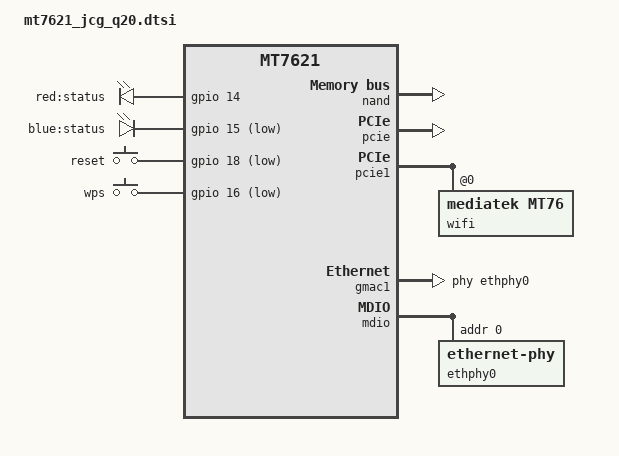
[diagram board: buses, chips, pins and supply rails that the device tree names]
// SPDX-License-Identifier: GPL-2.0-or-later OR MIT

#include "mt7621.dtsi"

#include <dt-bindings/gpio/gpio.h>
#include <dt-bindings/input/input.h>

/ {
	aliases {
		led-boot = &led_status_red;
		led-failsafe = &led_status_red;
		led-running = &led_status_blue;
		led-upgrade = &led_status_blue;
		label-mac-device = &gmac0;
	};

	chosen {
		bootargs = "console=ttyS0,115200";
	};

	leds {
		compatible = "gpio-leds";

		led_status_red: status_red {
			label = "red:status";
			gpios = <&gpio 14 GPIO_ACTIVE_HIGH>;
		};

		led_status_blue: status_blue {
			label = "blue:status";
			gpios = <&gpio 15 GPIO_ACTIVE_LOW>;
		};
	};

	keys {
		compatible = "gpio-keys";

		reset {
			label = "reset";
			gpios = <&gpio 18 GPIO_ACTIVE_LOW>;
			linux,code = <KEY_RESTART>;
		};

		wps {
			label = "wps";
			gpios = <&gpio 16 GPIO_ACTIVE_LOW>;
			linux,code = <KEY_WPS_BUTTON>;
		};
	};
};

&nand {
	status = "okay";

	partitions: partitions {
		compatible = "fixed-partitions";
		#address-cells = <1>;
		#size-cells = <1>;

		factory: partition@100000 {
			label = "Factory";
			reg = <0x100000 0x80000>;
			read-only;
		};

	};
};

&pcie {
	status = "okay";
};

&pcie1 {
	wifi@0,0 {
		compatible = "mediatek,mt76";
		reg = <0x0000 0 0 0 0>;
		mediatek,mtd-eeprom = <&factory 0x0>;
		mediatek,disable-radar-background;
	};
};

&gmac0 {
	nvmem-cells = <&macaddr_factory_3fff4>;
	nvmem-cell-names = "mac-address";
};

&gmac1 {
	status = "okay";
	label = "wan";
	phy-handle = <&ethphy0>;

	nvmem-cells = <&macaddr_factory_3fffa>;
	nvmem-cell-names = "mac-address";
};

&mdio {
	ethphy0: ethernet-phy@0 {
		reg = <0>;
	};
};

&switch0 {
	ports {
		port@1 {
			status = "okay";
			label = "lan1";
		};

		port@4 {
			status = "okay";
			label = "lan2";
		};
	};
};

&state_default {
	gpio {
		groups = "jtag", "wdt";
		function = "gpio";
	};
};

&factory {
	compatible = "nvmem-cells";
	#address-cells = <1>;
	#size-cells = <1>;

	macaddr_factory_3fff4: macaddr@3fff4 {
		reg = <0x3fff4 0x6>;
	};

	macaddr_factory_3fffa: macaddr@3fffa {
		reg = <0x3fffa 0x6>;
	};
};
